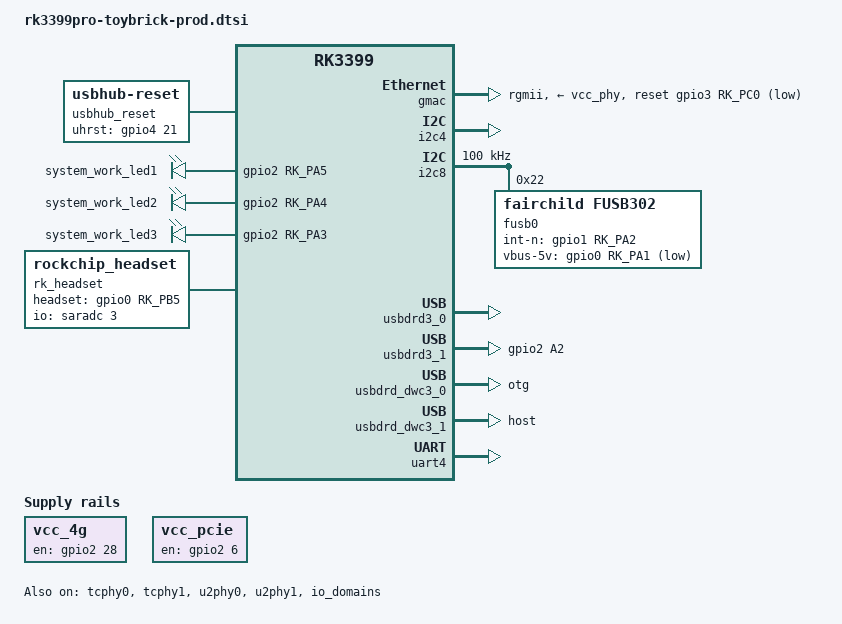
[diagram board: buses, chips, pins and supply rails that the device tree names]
/*
 * Copyright (c) 2019 Fuzhou Rockchip Electronics Co., Ltd
 *
 * This file is dual-licensed: you can use it either under the terms
 * of the GPL or the X11 license, at your option. Note that this dual
 * licensing only applies to this file, and not this project as a
 * whole.
 *
 *  a) This file is free software; you can redistribute it and/or
 *     modify it under the terms of the GNU General Public License as
 *     published by the Free Software Foundation; either version 2 of the
 *     License, or (at your option) any later version.
 *
 *     This file is distributed in the hope that it will be useful,
 *     but WITHOUT ANY WARRANTY; without even the implied warranty of
 *     MERCHANTABILITY or FITNESS FOR A PARTICULAR PURPOSE.  See the
 *     GNU General Public License for more details.
 *
 * Or, alternatively,
 *
 *  b) Permission is hereby granted, free of charge, to any person
 *     obtaining a copy of this software and associated documentation
 *     files (the "Software"), to deal in the Software without
 *     restriction, including without limitation the rights to use,
 *     copy, modify, merge, publish, distribute, sublicense, and/or
 *     sell copies of the Software, and to permit persons to whom the
 *     Software is furnished to do so, subject to the following
 *     conditions:
 *
 *     The above copyright notice and this permission notice shall be
 *     included in all copies or substantial portions of the Software.
 *
 *     THE SOFTWARE IS PROVIDED "AS IS", WITHOUT WARRANTY OF ANY KIND,
 *     EXPRESS OR IMPLIED, INCLUDING BUT NOT LIMITED TO THE WARRANTIES
 *     OF MERCHANTABILITY, FITNESS FOR A PARTICULAR PURPOSE AND
 *     NONINFRINGEMENT. IN NO EVENT SHALL THE AUTHORS OR COPYRIGHT
 *     HOLDERS BE LIABLE FOR ANY CLAIM, DAMAGES OR OTHER LIABILITY,
 *     WHETHER IN AN ACTION OF CONTRACT, TORT OR OTHERWISE, ARISING
 *     FROM, OUT OF OR IN CONNECTION WITH THE SOFTWARE OR THE USE OR
 *     OTHER DEALINGS IN THE SOFTWARE.
 */

#include "rk3399pro-toybrick.dtsi"
#include "rk3399-vop-clk-set.dtsi"

/ {
        compatible = "rockchip,rk3399pro-toybrick-prod","rockchip,rk3399pro";
	
	vcc_4g: vcc-4g-regulator {
		compatible = "regulator-fixed";
		enable-active-high;
		gpio = <&gpio2 28 GPIO_ACTIVE_HIGH>;
		pinctrl-names = "default";
		pinctrl-0 = <&vcc_4g_drv>;
		regulator-name = "vcc_4g";
		regulator-always-on;
		regulator-boot-on;
        };

	vcc_pcie: vcc-pcie-regulator {
		compatible = "regulator-fixed";
		enable-active-high;
		gpio = <&gpio2 6 GPIO_ACTIVE_HIGH>;
		pinctrl-names = "default";
		pinctrl-0 = <&vcc_pcie_drv>;
		regulator-name = "vcc_pcie";
		regulator-always-on;
		regulator-boot-on;
	};

	sdio_pwrseq: sdio-pwrseq {
		compatible = "mmc-pwrseq-simple";
		clocks = <&rk809 1>;
		clock-names = "ext_clock";

		status = "disabled";
	};

	wireless-wlan {
		compatible = "wlan-platdata";
		wifi_chip_type = "rtl8188eu";
		status = "okay";
	};

	usbhub_reset: usbhub-reset {
		compatible = "usbhub-reset";
		uhrst-gpio = <&gpio4 21 GPIO_ACTIVE_HIGH>;
        };

	leds: gpio-leds {
		compatible = "gpio-leds";
		pinctrl-names = "default";
		pinctrl-0 =<&leds_gpio>;
	
		led@1 {
			gpios = <&gpio2 RK_PA5 GPIO_ACTIVE_HIGH>;
			label = "system_work_led1"; // Blue LED
			retain-state-suspended;
		};

		led@2 {
			gpios = <&gpio2 RK_PA4 GPIO_ACTIVE_HIGH>;
			label = "system_work_led2"; // Red LED
			retain-state-suspended;
		};

		led@3 {
			gpios = <&gpio2 RK_PA3 GPIO_ACTIVE_HIGH>;
			label = "system_work_led3"; // Green LED
			retain-state-suspended;
		};
        };

	rk_headset {
		compatible = "rockchip_headset";
		headset_gpio = <&gpio0 RK_PB5 GPIO_ACTIVE_HIGH>;
		pinctrl-names = "default";
		pinctrl-0 = <&hp_det>;
		io-channels = <&saradc 3>;
	};
};

&gmac {
	phy-supply = <&vcc_phy>;
	phy-mode = "rgmii";
	clock_in_out = "input";
	snps,reset-gpio = <&gpio3 RK_PC0 GPIO_ACTIVE_LOW>;
	snps,reset-active-low;
	snps,reset-delays-us = <0 10000 50000>;
	assigned-clocks = <&cru SCLK_RMII_SRC>;
	assigned-clock-parents = <&clkin_gmac>;
	pinctrl-names = "default";
	pinctrl-0 = <&rgmii_pins>;
	tx_delay = <0x28>;
	rx_delay = <0x20>;
	status = "okay";
};

&i2c4 {
	status = "okay";
	gt1x: gt1x@14 {
		status = "disabled";
		compatible = "goodix,gt1x";
		pinctrl-names = "default";
		pinctrl-0 = <&mipi_touch_int>;
		reg = <0x14>;
		goodix,rst-gpio = <&gpio4 RK_PC6 GPIO_ACTIVE_HIGH>;
		goodix,irq-gpio = <&gpio4 RK_PD0 IRQ_TYPE_LEVEL_LOW>;
		//goodix,enable-gpio = <&gpio4 RK_PD5 GPIO_ACTIVE_HIGH>;
	};

	gsl3673: gsl3673@40 {
		status = "disabled";
		compatible = "GSL,GSL3673";
		pinctrl-names = "default";
		pinctrl-0 = <&edp_touch_int>;
		reg = <0x40>;
		screen_max_x = <1536>;
		screen_max_y = <2048>;

		irq_gpio_number = <&gpio2 RK_PD0 IRQ_TYPE_LEVEL_LOW>;
		rst_gpio_number = <&gpio1 RK_PB5 GPIO_ACTIVE_HIGH>;
        };
};

&i2c8 {
	status = "okay";
	i2c-scl-rising-time-ns = <345>;
	i2c-scl-falling-time-ns = <11>;
	clock-frequency = <100000>;

	fusb0: fusb30x@22 {
		compatible = "fairchild,fusb302";
		reg = <0x22>;
		pinctrl-names = "default";
		pinctrl-0 = <&fusb0_int>;
		int-n-gpios = <&gpio1 RK_PA2 GPIO_ACTIVE_HIGH>;
		vbus-5v-gpios = <&gpio0 RK_PA1 GPIO_ACTIVE_LOW>;
		status = "okay";
	};
};

&usbdrd3_0 {
        extcon = <&fusb0>;
        status = "okay";
};

&usbdrd3_1 {
        status = "okay";
        pinctrl-names = "default";
        pinctrl-0 = <&usb3_host_en>;
};

&usbdrd_dwc3_0 {
	snps,dis-u3-autosuspend-quirk;
	dr_mode = "otg";
	//snps,tx-fifo-resize;
        status = "okay";
};

&usbdrd_dwc3_1 {
	snps,dis-u3-autosuspend-quirk;
	dr_mode = "host";
	status = "okay";
};

&tcphy0 {
	extcon = <&fusb0>;
	status = "okay";
};

&tcphy1 {
	status = "okay";
};

&u2phy0 {
	status = "okay";
	extcon = <&fusb0>;

	u2phy0_otg: otg-port {
		status = "okay";
	};

	u2phy0_host: host-port {
		phy-supply = <&vcc5v0_usb>;
		status = "okay";
	};
};

&u2phy1 {
	status = "okay";

	u2phy1_otg: otg-port {
		status = "okay";
	};

	u2phy1_host: host-port {
		phy-supply = <&vcc5v0_usb>;
		status = "okay";
	};
};

&cdn_dp {
	status = "disabled";
	extcon = <&fusb0>;
	phys = <&tcphy0_dp>;
};

&dp_in_vopb {
	status = "disabled";
};

&io_domains {
	status = "okay";
	bt656-supply = <&vcca_1v8>; /* APIO2_VDD */
	audio-supply = <&vcca_1v8>; /* APIO5_VDD */
	sdmmc-supply = <&vccio_sd>; /* SDMMC0_VDD */
	gpio1830-supply = <&vcc_3v0>; /* APIO4_VDD */
};

&pmu_io_domains {
	status = "okay";
	pmu1830-supply = <&vcc_1v8>;
};

&uart4 {
	status = "okay";
};

&pinctrl {
	vcc_4g_drv: vcc-4g-drv {
		rockchip,pins =
			<2 RK_PD4 RK_FUNC_GPIO &pcfg_pull_up>, // 3G_PWR_EN
			<2 RK_PD2 RK_FUNC_GPIO &pcfg_output_low>, // 4G_ENABLE
			<2 RK_PD3 RK_FUNC_GPIO &pcfg_output_low>; // 4G_RESET
	};

	fusb30x {
		fusb0_int: fusb0-int {
			rockchip,pins =
				<1 RK_PA2 0 &pcfg_pull_up>;
		};
	};

	usb3 {
		usb3_host_en: usb3-host-en {
			rockchip,pins =
				<2 RK_PA2 RK_FUNC_GPIO &pcfg_output_high>;
		};
	};

	leds_gpio: leds-gpio {
		rockchip,pins =
			<2 RK_PA5 RK_FUNC_GPIO &pcfg_pull_up>,
			<2 RK_PA4 RK_FUNC_GPIO &pcfg_pull_up>,
			<2 RK_PA3 RK_FUNC_GPIO &pcfg_pull_up>;
	};

	headphone {
		hp_det: hp-det {
			rockchip,pins =
				<0 RK_PB5 0 &pcfg_pull_up>;
		};
	};

	pcie {
		vcc_pcie_drv: vcc-pcie-drv {
			rockchip,pins =
				<2 RK_PA6 RK_FUNC_GPIO &pcfg_pull_up>;
		};
	};

	touch {
		mipi_touch_int: mipi-touch-int {
			rockchip,pins =
				<4 RK_PD0 RK_FUNC_GPIO &pcfg_pull_none>,
				<4 RK_PD5 RK_FUNC_GPIO &pcfg_output_high>;
		};

		edp_touch_int: edp-touch-int {
			rockchip,pins =
				<2 RK_PD0 RK_FUNC_GPIO &pcfg_pull_none>;
		};
	};

	lcd {
		lcd_bl_en_h: edp-bl-en-h {
			rockchip,pins =
				<4 RK_PD4 RK_FUNC_GPIO &pcfg_output_high>;
		};
	};
};


